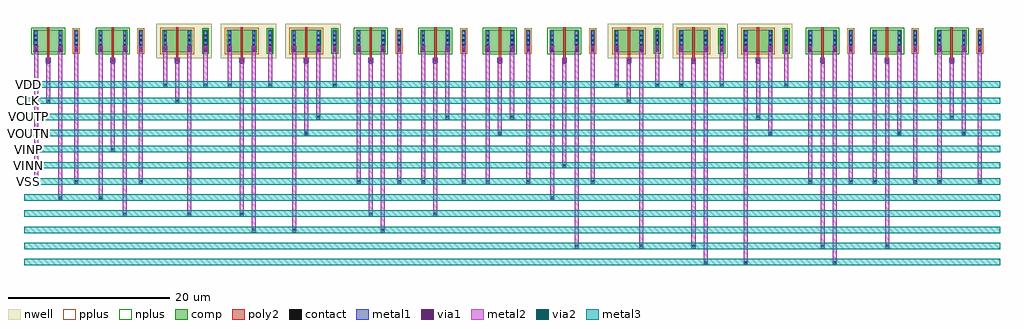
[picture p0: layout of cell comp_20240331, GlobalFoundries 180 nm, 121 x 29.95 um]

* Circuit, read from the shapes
.subckt comp_20240331 CLK VDD VINN VINP VOUTN VOUTP VSS
XM1 n1 CLK VSS VSS nfet_03v3 w=2.8u l=0.28u
XM2 n2 VINP n1 VSS nfet_03v3 w=2.8u l=0.28u
XM3 n3 n2 VSS VSS nfet_03v3 w=2.8u l=0.28u
XM4 VOUTP n2 VSS VSS nfet_03v3 w=2.8u l=0.28u
XM5 VOUTP VOUTN VSS VSS nfet_03v3 w=2.8u l=0.28u
XM6 n4 VINN n1 VSS nfet_03v3 w=2.8u l=0.28u
XM7 n5 n4 VSS VSS nfet_03v3 w=2.8u l=0.28u
XM8 VOUTN n4 VSS VSS nfet_03v3 w=2.8u l=0.28u
XM9 VOUTN VOUTP VSS VSS nfet_03v3 w=2.8u l=0.28u
XM10 n2 CLK VDD VDD pfet_03v3 w=2.8u l=0.28u
XM11 n3 n2 VDD VDD pfet_03v3 w=2.8u l=0.28u
XM12 VOUTP VOUTN n3 VDD pfet_03v3 w=2.8u l=0.28u
XM13 n4 CLK VDD VDD pfet_03v3 w=2.8u l=0.28u
XM14 n5 n4 VDD VDD pfet_03v3 w=2.8u l=0.28u
XM15 VOUTN VOUTP n5 VDD pfet_03v3 w=2.8u l=0.28u
.ends

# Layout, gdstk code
import gdstk
lib = gdstk.Library(unit=1e-6, precision=1e-09)
def R(c, l, rs):  # rectangles x0, y0, x1, y1
    for r in rs: c.add(gdstk.rectangle(r[:2], r[2:], *l))
def A(c, l, x, y, w, h, nx, ny, dx, dy):  # array of equal rectangles
    R(c, l, [(x+i*dx, y+j*dy, x+i*dx+w, y+j*dy+h) for i in range(nx) for j in range(ny)])
nwell = (21, 0)
comp = (22, 0)
poly2 = (30, 0)
pplus = (31, 0)
nplus = (32, 0)
contact = (33, 0)
metal1 = (34, 0)
via1 = (35, 0)
metal2 = (36, 0)
via2 = (38, 0)
metal3 = (42, 0)

comp_20240331 = lib.new_cell('comp_20240331')
A(comp_20240331, nwell, 15.4, -0.75, 6.85, 4.3, 3, 1, 8, 0)
A(comp_20240331, nwell, 71.4, -0.75, 6.85, 4.3, 3, 1, 8, 0)
A(comp_20240331, comp, 0.15, 0, 3.7, 2.8, 15, 1, 8, 0)
A(comp_20240331, comp, 5.25, 0, 0.5, 2.8, 15, 1, 8, 0)
A(comp_20240331, poly2, 1.86, -1.4, 0.28, 4.5, 15, 1, 8, 0)
A(comp_20240331, poly2, 1.75, -1.35, 0.5, 0.7, 15, 1, 8, 0)
A(comp_20240331, pplus, 15.9, -0.25, 4.2, 3.3, 3, 1, 8, 0)
A(comp_20240331, pplus, 71.9, -0.25, 4.2, 3.3, 3, 1, 8, 0)
A(comp_20240331, pplus, 45.07, -0.18, 0.86, 3.16, 4, 1, 8, 0)
A(comp_20240331, pplus, 101.07, -0.18, 0.86, 3.16, 3, 1, 8, 0)
R(comp_20240331, pplus, [(5.07,-0.18,5.93,2.98), (13.07,-0.18,13.93,2.98)])
A(comp_20240331, nplus, 39.9, -0.25, 4.2, 3.3, 4, 1, 8, 0)
A(comp_20240331, nplus, 95.9, -0.25, 4.2, 3.3, 3, 1, 8, 0)
A(comp_20240331, nplus, 21.07, -0.18, 0.86, 3.16, 3, 1, 8, 0)
A(comp_20240331, nplus, 77.07, -0.18, 0.86, 3.16, 3, 1, 8, 0)
R(comp_20240331, nplus, [(-0.1,-0.25,4.1,3.05), (7.9,-0.25,12.1,3.05)])
A(comp_20240331, contact, 1.89, -1.11, 0.22, 0.22, 15, 1, 8, 0)
A(comp_20240331, contact, 0.39, 0.19, 0.22, 0.22, 1, 4, 0, 0.6)
A(comp_20240331, contact, 3.39, 0.19, 0.22, 0.22, 1, 4, 0, 0.6)
A(comp_20240331, contact, 5.39, 0.19, 0.22, 0.22, 3, 4, 3, 0.6)
A(comp_20240331, contact, 13.39, 0.19, 0.22, 0.22, 3, 4, 3, 0.6)
A(comp_20240331, contact, 21.39, 0.19, 0.22, 0.22, 3, 4, 3, 0.6)
A(comp_20240331, contact, 29.39, 0.19, 0.22, 0.22, 3, 4, 3, 0.6)
A(comp_20240331, contact, 37.39, 0.19, 0.22, 0.22, 3, 4, 3, 0.6)
A(comp_20240331, contact, 45.39, 0.19, 0.22, 0.22, 3, 4, 3, 0.6)
A(comp_20240331, contact, 53.39, 0.19, 0.22, 0.22, 3, 4, 3, 0.6)
A(comp_20240331, contact, 61.39, 0.19, 0.22, 0.22, 3, 4, 3, 0.6)
A(comp_20240331, contact, 69.39, 0.19, 0.22, 0.22, 3, 4, 3, 0.6)
A(comp_20240331, contact, 77.39, 0.19, 0.22, 0.22, 3, 4, 3, 0.6)
A(comp_20240331, contact, 85.39, 0.19, 0.22, 0.22, 3, 4, 3, 0.6)
A(comp_20240331, contact, 93.39, 0.19, 0.22, 0.22, 3, 4, 3, 0.6)
A(comp_20240331, contact, 101.39, 0.19, 0.22, 0.22, 3, 4, 3, 0.6)
A(comp_20240331, contact, 109.39, 0.19, 0.22, 0.22, 3, 4, 3, 0.6)
A(comp_20240331, contact, 117.39, 0.19, 0.22, 0.22, 1, 4, 0, 0.6)
A(comp_20240331, metal1, 1.7, -1.3, 0.6, 0.6, 15, 1, 8, 0)
A(comp_20240331, metal1, 5.3, 0.1, 0.4, 2.6, 3, 1, 3, 0)
A(comp_20240331, metal1, 13.3, 0.1, 0.4, 2.6, 3, 1, 3, 0)
A(comp_20240331, metal1, 21.3, 0.1, 0.4, 2.6, 3, 1, 3, 0)
A(comp_20240331, metal1, 29.3, 0.1, 0.4, 2.6, 3, 1, 3, 0)
A(comp_20240331, metal1, 37.3, 0.1, 0.4, 2.6, 3, 1, 3, 0)
A(comp_20240331, metal1, 45.3, 0.1, 0.4, 2.6, 3, 1, 3, 0)
A(comp_20240331, metal1, 53.3, 0.1, 0.4, 2.6, 3, 1, 3, 0)
A(comp_20240331, metal1, 61.3, 0.1, 0.4, 2.6, 3, 1, 3, 0)
A(comp_20240331, metal1, 69.3, 0.1, 0.4, 2.6, 3, 1, 3, 0)
A(comp_20240331, metal1, 77.3, 0.1, 0.4, 2.6, 3, 1, 3, 0)
A(comp_20240331, metal1, 85.3, 0.1, 0.4, 2.6, 3, 1, 3, 0)
A(comp_20240331, metal1, 93.3, 0.1, 0.4, 2.6, 3, 1, 3, 0)
A(comp_20240331, metal1, 101.3, 0.1, 0.4, 2.6, 3, 1, 3, 0)
A(comp_20240331, metal1, 109.3, 0.1, 0.4, 2.6, 3, 1, 3, 0)
R(comp_20240331, metal1, [(0.3,0.1,0.7,2.7), (3.3,0.1,3.7,2.7), (117.3,0.1,117.7,2.7)])
A(comp_20240331, via1, 1.87, -1.13, 0.26, 0.26, 15, 1, 8, 0)
A(comp_20240331, via1, 5.37, 0.37, 0.26, 0.26, 3, 1, 3, 0)
A(comp_20240331, via1, 13.37, 0.37, 0.26, 0.26, 3, 1, 3, 0)
A(comp_20240331, via1, 21.37, 0.37, 0.26, 0.26, 3, 1, 3, 0)
A(comp_20240331, via1, 29.37, 0.37, 0.26, 0.26, 3, 1, 3, 0)
A(comp_20240331, via1, 37.37, 0.37, 0.26, 0.26, 3, 1, 3, 0)
A(comp_20240331, via1, 45.37, 0.37, 0.26, 0.26, 3, 1, 3, 0)
A(comp_20240331, via1, 53.37, 0.37, 0.26, 0.26, 3, 1, 3, 0)
A(comp_20240331, via1, 61.37, 0.37, 0.26, 0.26, 3, 1, 3, 0)
A(comp_20240331, via1, 69.37, 0.37, 0.26, 0.26, 3, 1, 3, 0)
A(comp_20240331, via1, 77.37, 0.37, 0.26, 0.26, 3, 1, 3, 0)
A(comp_20240331, via1, 85.37, 0.37, 0.26, 0.26, 3, 1, 3, 0)
A(comp_20240331, via1, 93.37, 0.37, 0.26, 0.26, 3, 1, 3, 0)
A(comp_20240331, via1, 101.37, 0.37, 0.26, 0.26, 3, 1, 3, 0)
A(comp_20240331, via1, 109.37, 0.37, 0.26, 0.26, 3, 1, 3, 0)
R(comp_20240331, via1, [(0.37,0.37,0.63,0.63), (3.37,0.37,3.63,0.63), (117.37,0.37,117.63,0.63)])
R(comp_20240331, metal2, [(83.25,-26.3,83.75,0.8), (88.25,-26.3,88.75,0.8), (99.25,-26.3,99.75,0.8), (67.25,-24.3,67.75,0.8), (75.25,-24.3,75.75,0.8), (81.75,-24.3,82.25,-0.7), (97.75,-24.3,98.25,-0.7), (105.75,-24.3,106.25,-0.7), (27.25,-22.3,27.75,0.8), (32.25,-22.3,32.75,0.8), (43.25,-22.3,43.75,0.8), (11.25,-20.3,11.75,0.8), (19.25,-20.3,19.75,0.8), (25.75,-20.3,26.25,-0.7), (41.75,-20.3,42.25,-0.7), (49.75,-20.3,50.25,-0.7), (3.25,-18.3,3.75,0.8), (8.25,-18.3,8.75,0.8), (64.25,-18.3,64.75,0.8), (0.25,-16.3,0.75,0.8), (5.25,-16.3,5.75,0.8), (13.25,-16.3,13.75,0.8), (40.25,-16.3,40.75,0.8), (45.25,-16.3,45.75,0.8), (48.25,-16.3,48.75,0.8), (53.25,-16.3,53.75,0.8), (56.25,-16.3,56.75,0.8), (61.25,-16.3,61.75,0.8), (69.25,-16.3,69.75,0.8), (96.25,-16.3,96.75,0.8), (101.25,-16.3,101.75,0.8), (104.25,-16.3,104.75,0.8), (109.25,-16.3,109.75,0.8), (112.25,-16.3,112.75,0.8), (117.25,-16.3,117.75,0.8), (65.75,-14.3,66.25,-0.7), (9.75,-12.3,10.25,-0.7), (33.75,-10.3,34.25,-0.7), (57.75,-10.3,58.25,-0.7), (91.25,-10.3,91.75,0.8), (107.25,-10.3,107.75,0.8), (115.25,-10.3,115.75,0.8), (35.25,-8.3,35.75,0.8), (51.25,-8.3,51.75,0.8), (59.25,-8.3,59.75,0.8), (89.75,-8.3,90.25,-0.7), (113.75,-8.3,114.25,-0.7), (1.75,-6.3,2.25,-0.7), (17.75,-6.3,18.25,-0.7), (73.75,-6.3,74.25,-0.7), (16.25,-4.3,16.75,0.8), (21.25,-4.3,21.75,0.8), (24.25,-4.3,24.75,0.8), (29.25,-4.3,29.75,0.8), (37.25,-4.3,37.75,0.8), (72.25,-4.3,72.75,0.8), (77.25,-4.3,77.75,0.8), (80.25,-4.3,80.75,0.8), (85.25,-4.3,85.75,0.8), (93.25,-4.3,93.75,0.8)])
R(comp_20240331, via2, [(83.37,-26.13,83.63,-25.87), (88.37,-26.13,88.63,-25.87), (99.37,-26.13,99.63,-25.87), (67.37,-24.13,67.63,-23.87), (75.37,-24.13,75.63,-23.87), (81.87,-24.13,82.13,-23.87), (97.87,-24.13,98.13,-23.87), (105.87,-24.13,106.13,-23.87), (27.37,-22.13,27.63,-21.87), (32.37,-22.13,32.63,-21.87), (43.37,-22.13,43.63,-21.87), (11.37,-20.13,11.63,-19.87), (19.37,-20.13,19.63,-19.87), (25.87,-20.13,26.13,-19.87), (41.87,-20.13,42.13,-19.87), (49.87,-20.13,50.13,-19.87), (3.37,-18.13,3.63,-17.87), (8.37,-18.13,8.63,-17.87), (64.37,-18.13,64.63,-17.87), (0.37,-16.13,0.63,-15.87), (5.37,-16.13,5.63,-15.87), (13.37,-16.13,13.63,-15.87), (40.37,-16.13,40.63,-15.87), (45.37,-16.13,45.63,-15.87), (48.37,-16.13,48.63,-15.87), (53.37,-16.13,53.63,-15.87), (56.37,-16.13,56.63,-15.87), (61.37,-16.13,61.63,-15.87), (69.37,-16.13,69.63,-15.87), (96.37,-16.13,96.63,-15.87), (101.37,-16.13,101.63,-15.87), (104.37,-16.13,104.63,-15.87), (109.37,-16.13,109.63,-15.87), (112.37,-16.13,112.63,-15.87), (117.37,-16.13,117.63,-15.87), (65.87,-14.13,66.13,-13.87), (9.87,-12.13,10.13,-11.87), (33.87,-10.13,34.13,-9.87), (57.87,-10.13,58.13,-9.87), (91.37,-10.13,91.63,-9.87), (107.37,-10.13,107.63,-9.87), (115.37,-10.13,115.63,-9.87), (35.37,-8.13,35.63,-7.87), (51.37,-8.13,51.63,-7.87), (59.37,-8.13,59.63,-7.87), (89.87,-8.13,90.13,-7.87), (113.87,-8.13,114.13,-7.87), (1.87,-6.13,2.13,-5.87), (17.87,-6.13,18.13,-5.87), (73.87,-6.13,74.13,-5.87), (16.37,-4.13,16.63,-3.87), (21.37,-4.13,21.63,-3.87), (24.37,-4.13,24.63,-3.87), (29.37,-4.13,29.63,-3.87), (37.37,-4.13,37.63,-3.87), (72.37,-4.13,72.63,-3.87), (77.37,-4.13,77.63,-3.87), (80.37,-4.13,80.63,-3.87), (85.37,-4.13,85.63,-3.87), (93.37,-4.13,93.63,-3.87)])
A(comp_20240331, metal3, -1, -26.4, 121, 0.8, 1, 12, 0, 2)
comp_20240331.add(gdstk.Label('VDD', (-0.5,-4), layer=42, texttype=10))
comp_20240331.add(gdstk.Label('CLK', (-0.5,-6), layer=42, texttype=10))
comp_20240331.add(gdstk.Label('VOUTP', (-0.5,-8), layer=42, texttype=10))
comp_20240331.add(gdstk.Label('VOUTN', (-0.5,-10), layer=42, texttype=10))
comp_20240331.add(gdstk.Label('VINP', (-0.5,-12), layer=42, texttype=10))
comp_20240331.add(gdstk.Label('VINN', (-0.5,-14), layer=42, texttype=10))
comp_20240331.add(gdstk.Label('VSS', (-0.5,-16), layer=42, texttype=10))

lib.write_gds('comp_20240331.gds')
